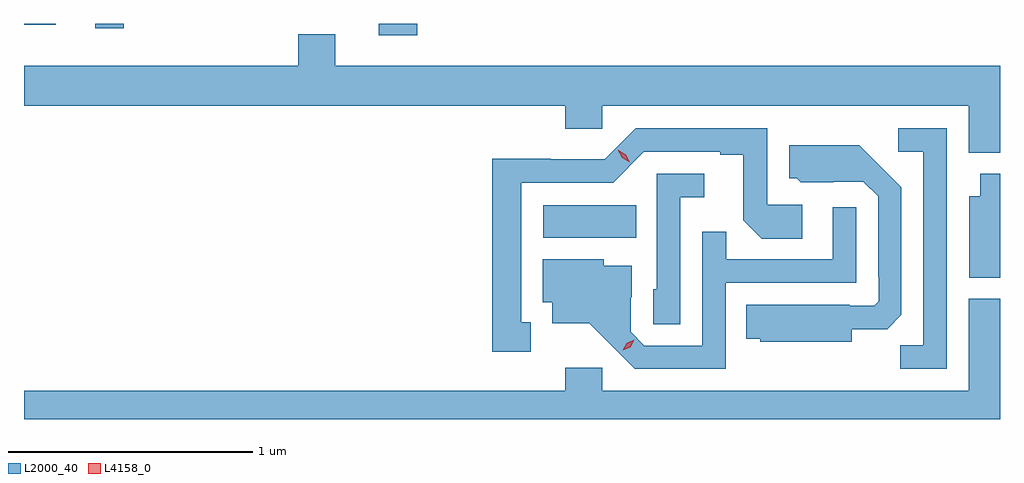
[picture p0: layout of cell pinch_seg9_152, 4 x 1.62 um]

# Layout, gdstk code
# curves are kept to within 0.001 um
import gdstk
lib = gdstk.Library(unit=1e-6, precision=1e-09)
def R(c, l, rs):  # rectangles x0, y0, x1, y1
    for r in rs: c.add(gdstk.rectangle(r[:2], r[2:], *l))
def P(c, l, *ps):  # polygons
    for p in ps: c.add(gdstk.Polygon(p, *l))
L2000_40 = (2000, 40)
L4158_0 = (4158, 0)

pinch_seg9_152 = lib.new_cell('pinch_seg9_152')
R(pinch_seg9_152, L2000_40, [(700.146,1165.244,700.526,1165.378), (699.47,1166.073,699.629,1166.121), (698.31,1166.103,698.426,1166.121), (698.017,1166.117,698.148,1166.121)])
P(pinch_seg9_152, L2000_40, [(702.017,1165.948),(699.292,1165.948),(699.292,1166.078),(699.14,1166.078),(699.14,1165.948),(698.017,1165.948),(698.017,1165.784),(700.235,1165.784),(700.235,1165.691),(700.386,1165.691),(700.386,1165.784),(701.888,1165.784),(701.888,1165.592),(702.017,1165.592)],
  [(701.799,1165.692),(701.601,1165.692),(701.601,1165.596),(701.703,1165.596),(701.703,1164.803),(701.608,1164.803),(701.608,1164.708),(701.799,1164.708)],
  [(700.093,1164.897),(700.054,1164.897),(700.054,1165.47),(700.431,1165.47),(700.557,1165.596),(700.871,1165.596),(700.871,1165.584),(700.965,1165.584),(700.965,1165.316),(701.041,1165.24),(701.206,1165.24),(701.206,1165.38),(701.064,1165.38),(701.064,1165.692),(700.524,1165.692),(700.398,1165.566),(700.176,1165.566),(700.176,1165.568),(699.936,1165.568),(699.936,1164.777),(700.093,1164.777)],
  [(701.41,1164.869),(701.554,1164.869),(701.613,1164.928),(701.613,1165.45),(701.441,1165.624),(701.153,1165.624),(701.153,1165.488),(701.184,1165.488),(701.2,1165.472),(701.457,1165.473),(701.517,1165.413),(701.517,1165.084),(701.52,1165.084),(701.52,1164.984),(701.502,1164.966),(701.402,1164.966),(701.402,1164.97),(700.978,1164.97),(700.978,1164.83),(701.034,1164.83),(701.034,1164.818),(701.41,1164.818)],
  [(702.017,1165.507),(701.936,1165.507),(701.936,1165.414),(701.891,1165.414),(701.891,1165.079),(702.017,1165.079)],
  [(700.707,1165.409),(700.804,1165.409),(700.804,1165.506),(700.611,1165.506),(700.611,1165.032),(700.596,1165.032),(700.596,1164.889),(700.707,1164.889)],
  [(700.893,1165.059),(701.427,1165.059),(701.427,1165.369),(701.331,1165.369),(701.331,1165.155),(700.895,1165.155),(700.895,1165.268),(700.797,1165.268),(700.797,1164.801),(700.56,1164.801),(700.503,1164.858),(700.503,1165),(700.507,1165),(700.507,1165.129),(700.392,1165.129),(700.392,1165.156),(700.142,1165.156),(700.142,1164.98),(700.181,1164.98),(700.181,1164.893),(700.333,1164.893),(700.52,1164.708),(700.893,1164.708)],
  [(702.017,1164.994),(701.888,1164.994),(701.888,1164.616),(700.386,1164.616),(700.386,1164.712),(700.235,1164.712),(700.235,1164.616),(698.017,1164.616),(698.017,1164.5),(702.017,1164.5)])
P(pinch_seg9_152, L4158_0, [(700.47,1164.782),(700.47,1164.782),(700.488,1164.811),(700.518,1164.826),(700.519,1164.826),(700.519,1164.825),(700.501,1164.796),(700.47,1164.782)],
  [(700.5,1165.553),(700.468,1165.572),(700.451,1165.604),(700.451,1165.604),(700.451,1165.604),(700.483,1165.585),(700.5,1165.553),(700.5,1165.553)])

lib.write_gds('pinch_seg9_152.gds')
